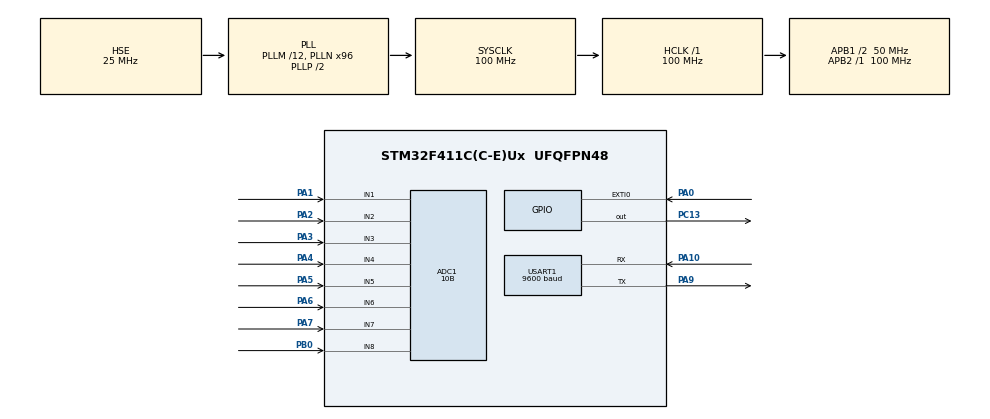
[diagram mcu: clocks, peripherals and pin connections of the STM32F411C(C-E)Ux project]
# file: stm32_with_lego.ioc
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ADC1.Channel-0\#ChannelRegularConversion=ADC_CHANNEL_1
ADC1.Channel-1\#ChannelRegularConversion=ADC_CHANNEL_2
ADC1.Channel-2\#ChannelRegularConversion=ADC_CHANNEL_3
ADC1.Channel-3\#ChannelRegularConversion=ADC_CHANNEL_4
ADC1.Channel-4\#ChannelRegularConversion=ADC_CHANNEL_5
ADC1.Channel-5\#ChannelRegularConversion=ADC_CHANNEL_6
ADC1.Channel-6\#ChannelRegularConversion=ADC_CHANNEL_7
ADC1.Channel-7\#ChannelRegularConversion=ADC_CHANNEL_8
ADC1.InjNumberOfConversion=0
ADC1.NbrOfConversion=8
ADC1.NbrOfConversionFlag=1
ADC1.Rank-0\#ChannelRegularConversion=1
ADC1.Rank-1\#ChannelRegularConversion=2
ADC1.Rank-2\#ChannelRegularConversion=3
ADC1.Rank-3\#ChannelRegularConversion=4
ADC1.Rank-4\#ChannelRegularConversion=5
ADC1.Rank-5\#ChannelRegularConversion=6
ADC1.Rank-6\#ChannelRegularConversion=7
ADC1.Rank-7\#ChannelRegularConversion=8
ADC1.Resolution=ADC_RESOLUTION_10B
ADC1.SamplingTime-0\#ChannelRegularConversion=ADC_SAMPLETIME_28CYCLES
ADC1.SamplingTime-1\#ChannelRegularConversion=ADC_SAMPLETIME_28CYCLES
ADC1.SamplingTime-2\#ChannelRegularConversion=ADC_SAMPLETIME_28CYCLES
ADC1.SamplingTime-3\#ChannelRegularConversion=ADC_SAMPLETIME_28CYCLES
ADC1.SamplingTime-4\#ChannelRegularConversion=ADC_SAMPLETIME_28CYCLES
ADC1.SamplingTime-5\#ChannelRegularConversion=ADC_SAMPLETIME_28CYCLES
ADC1.SamplingTime-6\#ChannelRegularConversion=ADC_SAMPLETIME_28CYCLES
ADC1.SamplingTime-7\#ChannelRegularConversion=ADC_SAMPLETIME_28CYCLES
ADC1.master=1
Dma.ADC1.0.Direction=DMA_PERIPH_TO_MEMORY
Dma.ADC1.0.FIFOMode=DMA_FIFOMODE_DISABLE
Dma.ADC1.0.Instance=DMA2_Stream0
Dma.ADC1.0.MemDataAlignment=DMA_MDATAALIGN_HALFWORD
Dma.ADC1.0.MemInc=DMA_MINC_ENABLE
Dma.ADC1.0.Mode=DMA_CIRCULAR
Dma.ADC1.0.PeriphDataAlignment=DMA_PDATAALIGN_HALFWORD
Dma.ADC1.0.PeriphInc=DMA_PINC_DISABLE
Dma.ADC1.0.Priority=DMA_PRIORITY_LOW
Dma.Request0=ADC1
Mcu.Family=STM32F4
Mcu.Name=STM32F411C(C-E)Ux
Mcu.Package=UFQFPN48
NVIC.DMA2_Stream0_IRQn=true\:0\:0\:false\:false\:true\:false\:true\:true
NVIC.EXTI0_IRQn=true\:0\:0\:false\:false\:true\:true\:true\:true
NVIC.PriorityGroup=NVIC_PRIORITYGROUP_4
NVIC.TIM2_IRQn=true\:0\:0\:false\:false\:true\:true\:true\:true
NVIC.USART1_IRQn=true\:0\:0\:false\:false\:true\:true\:true\:true
PA0-WKUP.GPIO_ModeDefaultEXTI=GPIO_MODE_IT_FALLING
PA0-WKUP.GPIO_PuPd=GPIO_PULLUP
PA0-WKUP.Signal=GPXTI0
PA1.Signal=ADCx_IN1
PA10.Mode=Asynchronous
PA10.Signal=USART1_RX
PA13.Mode=Serial_Wire
PA13.Signal=SYS_JTMS-SWDIO
PA14.Mode=Serial_Wire
PA14.Signal=SYS_JTCK-SWCLK
PA2.Signal=ADCx_IN2
PA3.Signal=ADCx_IN3
PA4.Signal=ADCx_IN4
PA5.Signal=ADCx_IN5
PA6.Signal=ADCx_IN6
PA7.Signal=ADCx_IN7
PA9.Mode=Asynchronous
PA9.Signal=USART1_TX
PB0.Signal=ADCx_IN8
PC13-ANTI_TAMP.GPIO_ModeDefaultOutputPP=GPIO_MODE_OUTPUT_PP
PC13-ANTI_TAMP.GPIO_PuPd=GPIO_PULLUP
PC13-ANTI_TAMP.PinState=GPIO_PIN_RESET
PC13-ANTI_TAMP.Signal=GPIO_Output
PH0\ -\ OSC_IN.Mode=HSE-External-Oscillator
PH0\ -\ OSC_IN.Signal=RCC_OSC_IN
PH1\ -\ OSC_OUT.Mode=HSE-External-Oscillator
PH1\ -\ OSC_OUT.Signal=RCC_OSC_OUT
ProjectManager.HeapSize=0x200
ProjectManager.StackSize=0x400
ProjectManager.TargetToolchain=STM32CubeIDE
RCC.48MHZClocksFreq_Value=50000000
RCC.AHBFreq_Value=100000000
RCC.APB1CLKDivider=RCC_HCLK_DIV2
RCC.APB1Freq_Value=50000000
RCC.APB1TimFreq_Value=100000000
RCC.APB2Freq_Value=100000000
RCC.APB2TimFreq_Value=100000000
RCC.CortexFreq_Value=100000000
RCC.HCLKFreq_Value=100000000
RCC.HSE_VALUE=25000000
RCC.HSI_VALUE=16000000
RCC.LSE_VALUE=32768
RCC.PLLM=12
RCC.PLLN=96
RCC.PLLSourceVirtual=RCC_PLLSOURCE_HSE
RCC.SYSCLKFreq_VALUE=100000000
RCC.SYSCLKSource=RCC_SYSCLKSOURCE_PLLCLK
RCC.VCOOutputFreq_Value=200000000
SH.ADCx_IN1.0=ADC1_IN1,IN1
SH.ADCx_IN2.0=ADC1_IN2,IN2
SH.ADCx_IN3.0=ADC1_IN3,IN3
SH.ADCx_IN4.0=ADC1_IN4,IN4
SH.ADCx_IN5.0=ADC1_IN5,IN5
SH.ADCx_IN6.0=ADC1_IN6,IN6
SH.ADCx_IN7.0=ADC1_IN7,IN7
SH.ADCx_IN8.0=ADC1_IN8,IN8
TIM2.Period=9999
TIM2.Prescaler=0
USART1.BaudRate=9600
USART1.VirtualMode=VM_ASYNC
VP_TIM2_VS_ClockSourceINT.Mode=Internal
board=custom

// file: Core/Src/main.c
/* USER CODE BEGIN Header */
/**
  ******************************************************************************
  * @file           : main.c
  * @brief          : Main program body
  ******************************************************************************
  * @attention
  *
  * Copyright (c) 2024 STMicroelectronics.
  * All rights reserved.
  *
  * This software is licensed under terms that can be found in the LICENSE file
  * in the root directory of this software component.
  * If no LICENSE file comes with this software, it is provided AS-IS.
  *
  ******************************************************************************
  */
/* USER CODE END Header */
#include "main.h"

/* USER CODE BEGIN PD */
#define OFFSET_SENSOR 900

/* USER CODE END PD */

ADC_HandleTypeDef hadc1;
DMA_HandleTypeDef hdma_adc1;

TIM_HandleTypeDef htim2;

UART_HandleTypeDef huart1;

/* USER CODE BEGIN PV */
uint8_t data[] = "Hello World\n";
int8_t btn_flag = 1;
volatile uint8_t test_data = 1; /*valid [1:101]*/
uint16_t timer_counter = 0;
uint16_t adc_buffer[8];
int16_t after_offset[8];
int16_t sum_after_offset = 0;
int8_t direction_flag = 1; //0: init | 1: left | -1: right
int8_t out_of_line_flag = 0; //0: init | 1: left | -1: right

uint32_t while_counter = 0;

volatile uint8_t rx_data = 0;
int16_t sensors_value = 0;

volatile uint8_t tx_data = 0;

/* USER CODE END PV */

void SystemClock_Config(void);
static void MX_GPIO_Init(void);
static void MX_DMA_Init(void);
static void MX_USART1_UART_Init(void);
static void MX_TIM2_Init(void);
static void MX_ADC1_Init(void);
/* USER CODE BEGIN PFP */
int16_t ProcessLineSensor(void);
uint8_t map(int input, int input_min, int input_max, int output_min, int output_max);
/* USER CODE END PFP */

int main(void)
{

  /* MCU Configuration--------------------------------------------------------*/

  /* Reset of all peripherals, Initializes the Flash interface and the Systick. */
  HAL_Init();

  /* Configure the system clock */
  SystemClock_Config();

  /* Initialize all configured peripherals */
  MX_GPIO_Init();
  MX_DMA_Init();
  MX_USART1_UART_Init();
  MX_TIM2_Init();
  MX_ADC1_Init();
  /* USER CODE BEGIN 2 */
  HAL_TIM_Base_Start_IT(&htim2);
  HAL_UART_Transmit(&huart1, data, sizeof(data), 1000);
  HAL_UART_Receive_IT(&huart1, &rx_data, 1);
  HAL_Delay(1000);

  /* init adc_buffer */
  for (int i =0; i<8; i++) {
	  adc_buffer[i] = 0;
  }

  /* USER CODE END 2 */

  /* Infinite loop */
  while (1)
  {

    /* USER CODE BEGIN 3 */
//	  if (btn_flag == -1) {
//		  HAL_GPIO_WritePin(GPIOC, GPIO_PIN_13, GPIO_PIN_RESET);
//		  HAL_UART_Transmit(&huart1, data, sizeof(data), 1000);
//		  HAL_Delay(200);
//		  btn_flag = 1;
//	  }
//	  else {
//		  HAL_GPIO_WritePin(GPIOC, GPIO_PIN_13, GPIO_PIN_SET);
//		  HAL_Delay(1000);

	  HAL_ADC_Start_DMA(&hadc1, adc_buffer, 8);

	  HAL_Delay(5);

	  while_counter++;

	  if (while_counter >=10000) while_counter = 0;

//	  }
  }
  /* USER CODE END 3 */
}

void SystemClock_Config(void)
{
  RCC_OscInitTypeDef RCC_OscInitStruct = {0};
  RCC_ClkInitTypeDef RCC_ClkInitStruct = {0};

  /** Configure the main internal regulator output voltage
  */
  __HAL_RCC_PWR_CLK_ENABLE();
  __HAL_PWR_VOLTAGESCALING_CONFIG(PWR_REGULATOR_VOLTAGE_SCALE1);

  /** Initializes the RCC Oscillators according to the specified parameters
  * in the RCC_OscInitTypeDef structure.
  */
  RCC_OscInitStruct.OscillatorType = RCC_OSCILLATORTYPE_HSE;
  RCC_OscInitStruct.HSEState = RCC_HSE_ON;
  RCC_OscInitStruct.PLL.PLLState = RCC_PLL_ON;
  RCC_OscInitStruct.PLL.PLLSource = RCC_PLLSOURCE_HSE;
  RCC_OscInitStruct.PLL.PLLM = 12;
  RCC_OscInitStruct.PLL.PLLN = 96;
  RCC_OscInitStruct.PLL.PLLP = RCC_PLLP_DIV2;
  RCC_OscInitStruct.PLL.PLLQ = 4;
  if (HAL_RCC_OscConfig(&RCC_OscInitStruct) != HAL_OK)
  {
    Error_Handler();
  }

  /** Initializes the CPU, AHB and APB buses clocks
  */
  RCC_ClkInitStruct.ClockType = RCC_CLOCKTYPE_HCLK|RCC_CLOCKTYPE_SYSCLK
                              |RCC_CLOCKTYPE_PCLK1|RCC_CLOCKTYPE_PCLK2;
  RCC_ClkInitStruct.SYSCLKSource = RCC_SYSCLKSOURCE_PLLCLK;
  RCC_ClkInitStruct.AHBCLKDivider = RCC_SYSCLK_DIV1;
  RCC_ClkInitStruct.APB1CLKDivider = RCC_HCLK_DIV2;
  RCC_ClkInitStruct.APB2CLKDivider = RCC_HCLK_DIV1;

  if (HAL_RCC_ClockConfig(&RCC_ClkInitStruct, FLASH_LATENCY_3) != HAL_OK)
  {
    Error_Handler();
  }
}

static void MX_ADC1_Init(void)
{

  ADC_ChannelConfTypeDef sConfig = {0};

  /** Configure the global features of the ADC (Clock, Resolution, Data Alignment and number of conversion)
  */
  hadc1.Instance = ADC1;
  hadc1.Init.ClockPrescaler = ADC_CLOCK_SYNC_PCLK_DIV4;
  hadc1.Init.Resolution = ADC_RESOLUTION_10B;
  hadc1.Init.ScanConvMode = ENABLE;
  hadc1.Init.ContinuousConvMode = DISABLE;
  hadc1.Init.DiscontinuousConvMode = DISABLE;
  hadc1.Init.ExternalTrigConvEdge = ADC_EXTERNALTRIGCONVEDGE_NONE;
  hadc1.Init.ExternalTrigConv = ADC_SOFTWARE_START;
  hadc1.Init.DataAlign = ADC_DATAALIGN_RIGHT;
  hadc1.Init.NbrOfConversion = 8;
  hadc1.Init.DMAContinuousRequests = DISABLE;
  hadc1.Init.EOCSelection = ADC_EOC_SINGLE_CONV;
  if (HAL_ADC_Init(&hadc1) != HAL_OK)
  {
    Error_Handler();
  }

  /** Configure for the selected ADC regular channel its corresponding rank in the sequencer and its sample time.
  */
  sConfig.Channel = ADC_CHANNEL_1;
  sConfig.Rank = 1;
  sConfig.SamplingTime = ADC_SAMPLETIME_28CYCLES;
  if (HAL_ADC_ConfigChannel(&hadc1, &sConfig) != HAL_OK)
  {
    Error_Handler();
  }

  /** Configure for the selected ADC regular channel its corresponding rank in the sequencer and its sample time.
  */
  sConfig.Channel = ADC_CHANNEL_2;
  sConfig.Rank = 2;
  if (HAL_ADC_ConfigChannel(&hadc1, &sConfig) != HAL_OK)
  {
    Error_Handler();
  }

  /** Configure for the selected ADC regular channel its corresponding rank in the sequencer and its sample time.
  */
  sConfig.Channel = ADC_CHANNEL_3;
  sConfig.Rank = 3;
  if (HAL_ADC_ConfigChannel(&hadc1, &sConfig) != HAL_OK)
  {
    Error_Handler();
  }

  /** Configure for the selected ADC regular channel its corresponding rank in the sequencer and its sample time.
  */
  sConfig.Channel = ADC_CHANNEL_4;
  sConfig.Rank = 4;
  if (HAL_ADC_ConfigChannel(&hadc1, &sConfig) != HAL_OK)
  {
    Error_Handler();
  }

  /** Configure for the selected ADC regular channel its corresponding rank in the sequencer and its sample time.
  */
  sConfig.Channel = ADC_CHANNEL_5;
  sConfig.Rank = 5;
  if (HAL_ADC_ConfigChannel(&hadc1, &sConfig) != HAL_OK)
  {
    Error_Handler();
  }

  /** Configure for the selected ADC regular channel its corresponding rank in the sequencer and its sample time.
  */
  sConfig.Channel = ADC_CHANNEL_6;
  sConfig.Rank = 6;
  if (HAL_ADC_ConfigChannel(&hadc1, &sConfig) != HAL_OK)
  {
    Error_Handler();
  }

  /** Configure for the selected ADC regular channel its corresponding rank in the sequencer and its sample time.
  */
  sConfig.Channel = ADC_CHANNEL_7;
  sConfig.Rank = 7;
  if (HAL_ADC_ConfigChannel(&hadc1, &sConfig) != HAL_OK)
  {
    Error_Handler();
  }

  /** Configure for the selected ADC regular channel its corresponding rank in the sequencer and its sample time.
  */
  sConfig.Channel = ADC_CHANNEL_8;
  sConfig.Rank = 8;
  if (HAL_ADC_ConfigChannel(&hadc1, &sConfig) != HAL_OK)
  {
    Error_Handler();
  }

}

static void MX_TIM2_Init(void)
{

  TIM_ClockConfigTypeDef sClockSourceConfig = {0};
  TIM_MasterConfigTypeDef sMasterConfig = {0};

  htim2.Instance = TIM2;
  htim2.Init.Prescaler = 0;
  htim2.Init.CounterMode = TIM_COUNTERMODE_UP;
  htim2.Init.Period = 9999;
  htim2.Init.ClockDivision = TIM_CLOCKDIVISION_DIV1;
  htim2.Init.AutoReloadPreload = TIM_AUTORELOAD_PRELOAD_DISABLE;
  if (HAL_TIM_Base_Init(&htim2) != HAL_OK)
  {
    Error_Handler();
  }
  sClockSourceConfig.ClockSource = TIM_CLOCKSOURCE_INTERNAL;
  if (HAL_TIM_ConfigClockSource(&htim2, &sClockSourceConfig) != HAL_OK)
  {
    Error_Handler();
  }
  sMasterConfig.MasterOutputTrigger = TIM_TRGO_RESET;
  sMasterConfig.MasterSlaveMode = TIM_MASTERSLAVEMODE_DISABLE;
  if (HAL_TIMEx_MasterConfigSynchronization(&htim2, &sMasterConfig) != HAL_OK)
  {
    Error_Handler();
  }

}

static void MX_USART1_UART_Init(void)
{

  huart1.Instance = USART1;
  huart1.Init.BaudRate = 9600;
  huart1.Init.WordLength = UART_WORDLENGTH_8B;
  huart1.Init.StopBits = UART_STOPBITS_1;
  huart1.Init.Parity = UART_PARITY_NONE;
  huart1.Init.Mode = UART_MODE_TX_RX;
  huart1.Init.HwFlowCtl = UART_HWCONTROL_NONE;
  huart1.Init.OverSampling = UART_OVERSAMPLING_16;
  if (HAL_UART_Init(&huart1) != HAL_OK)
  {
    Error_Handler();
  }

}

static void MX_DMA_Init(void)
{

  /* DMA controller clock enable */
  __HAL_RCC_DMA2_CLK_ENABLE();

  /* DMA interrupt init */
  /* DMA2_Stream0_IRQn interrupt configuration */
  HAL_NVIC_SetPriority(DMA2_Stream0_IRQn, 0, 0);
  HAL_NVIC_EnableIRQ(DMA2_Stream0_IRQn);

}

static void MX_GPIO_Init(void)
{
  GPIO_InitTypeDef GPIO_InitStruct = {0};

  /* GPIO Ports Clock Enable */
  __HAL_RCC_GPIOC_CLK_ENABLE();
  __HAL_RCC_GPIOH_CLK_ENABLE();
  __HAL_RCC_GPIOA_CLK_ENABLE();
  __HAL_RCC_GPIOB_CLK_ENABLE();

  /*Configure GPIO pin Output Level */
  HAL_GPIO_WritePin(GPIOC, GPIO_PIN_13, GPIO_PIN_RESET);

  /*Configure GPIO pin : PC13 */
  GPIO_InitStruct.Pin = GPIO_PIN_13;
  GPIO_InitStruct.Mode = GPIO_MODE_OUTPUT_PP;
  GPIO_InitStruct.Pull = GPIO_PULLUP;
  GPIO_InitStruct.Speed = GPIO_SPEED_FREQ_LOW;
  HAL_GPIO_Init(GPIOC, &GPIO_InitStruct);

  /*Configure GPIO pin : PA0 */
  GPIO_InitStruct.Pin = GPIO_PIN_0;
  GPIO_InitStruct.Mode = GPIO_MODE_IT_FALLING;
  GPIO_InitStruct.Pull = GPIO_PULLUP;
  HAL_GPIO_Init(GPIOA, &GPIO_InitStruct);

  /* EXTI interrupt init*/
  HAL_NVIC_SetPriority(EXTI0_IRQn, 0, 0);
  HAL_NVIC_EnableIRQ(EXTI0_IRQn);

}

/* USER CODE BEGIN 4 */

/*
 * Process 8 value of sensor data to delta e
 * Pin: 		[A1] [A2] [A3] [A4] [A5] [A6] [A7] [B0]
 * Weighted: 	-3	  -2   -1   0    0    1    2    3
 * Index:		[0]  [1]  [2]  [3]  [4]  [5]  [6]  [7]
 */
int16_t ProcessLineSensor(void) {
//	uint16_t after_offset[8];
	int16_t return_value = 0;
	uint8_t working_sensor_left = 0;
	uint8_t working_sensor_right = 0;
	uint8_t working_sensor_total = 0;
	sum_after_offset = 0;
	for (int i = 0; i<8; i++) {
		after_offset[i] = adc_buffer[i] - OFFSET_SENSOR;
		if (after_offset[i] < 0) after_offset[i] = 0;
		sum_after_offset = sum_after_offset + after_offset[i];
		if (after_offset[i] != 0) working_sensor_total++;
	}
	return_value = -(after_offset[0]*(-3) + after_offset[1]*(-2) + after_offset[2]*(-1)
				 + after_offset[5]*(1) + after_offset[6]*(2) + after_offset[7]*(3));

	if ( ( (after_offset[3] == 0 || after_offset[4] == 0 ) && return_value == 0 ) || working_sensor_total >= 5) {
		/*out of line*/
		out_of_line_flag = 1;
	}

	if (out_of_line_flag == 0) {
		/*not out of line*/
		if (return_value > 0) {
			direction_flag = 1; //to the left
		} else if (return_value < 0) {
			direction_flag = -1; //to the left
		} else {
	//		direction_flag = 0;
		}
	} else {
		/* out of line*/
		if (working_sensor_total >=1 && working_sensor_total <=2 && sum_after_offset >=150) {
			/*1 or 2 sensor work = width of line and sum_after_offset to filter noise when sensor lifted*/
				out_of_line_flag = 0;
			}
		if (direction_flag == 1) {
			return_value = 500;
			if ( after_offset[0] != 0 && (working_sensor_total >=1 && working_sensor_total <= 2)) {
				/*sensor [0] reach the line again*/
				out_of_line_flag = 0;
			} else {
			}
		}
		if (direction_flag == -1)  {
			return_value = -500;
			if (after_offset[7] != 0 && (working_sensor_total >=1 && working_sensor_total <= 2)) {
				/*sensor [7] reach the line again*/
				out_of_line_flag = 0;
			} else {
			}
		}
	}

	if (return_value < -500) {
		return_value = -500;
	} else if (return_value > 500) {
		return_value = 500;
	}

	return return_value;
}

uint8_t map(int input, int input_min, int input_max, int output_min, int output_max) {
    return (input - input_min) * (output_max - output_min) / (input_max - input_min) + output_min;
}

/*
 * Pack data to message and transmit via UART
 * @param data: from 0 - 100
 */
void TransmitPackedData(uint8_t data) {
	uint8_t packed_data[3];
	/*packaging data with prefix and suffix to message*/
	packed_data[0] = 's';
	packed_data[1] = data;
//	packed_data[2] = 'e';
	packed_data[2] = '\0';
	/*send the packed data*/
//	HAL_GPIO_WritePin(GPIOC, GPIO_PIN_13, GPIO_PIN_RESET);
	HAL_UART_Transmit(&huart1, packed_data, 3, 1000);
}

void HAL_UART_RxCpltCallback(UART_HandleTypeDef *huart){
	if(huart == &huart1){
		/*receive from LEGO hub char "s"*/
		if ( (char)rx_data == 's') {
//			HAL_UART_Transmit(&huart1, &test_data, 1, 1000);

//			TransmitPackedData(test_data);
			TransmitPackedData(tx_data);
			test_data++;
			if (test_data >= 101) {
				test_data = 1;
			}

		}
		HAL_UART_Receive_IT(&huart1, &rx_data, 1);
	}
}

void HAL_TIM_PeriodElapsedCallback(TIM_HandleTypeDef* htim)
{ /*call each 0.1ms*/
//    if (htim == &htim2) {
//    	timer_counter++;
//    	if (timer_counter >= 1) { /* 500ms each time */
//    		TransmitPackedData(test_data);
//    		test_data++;
//			if (test_data >= 101) {
//				test_data = 1;
//			}
//			timer_counter = 0;
//    	}
//    }
}

void HAL_GPIO_EXTI_Callback( uint16_t GPIO_Pin)
{
	if(GPIO_Pin == GPIO_PIN_0){
//	   HAL_GPIO_WritePin(GPIOC, GPIO_PIN_13, GPIO_PIN_SET);
		btn_flag = -1;
//		HAL_Delay(50);
	}
}

void HAL_ADC_ConvCpltCallback(ADC_HandleTypeDef* hadc)
{
	sensors_value = ProcessLineSensor();
	tx_data = map(sensors_value, -500, 500, 1, 101);
}

/* USER CODE END 4 */

void Error_Handler(void)
{
  __disable_irq();
  while (1)
  {
  }
}
